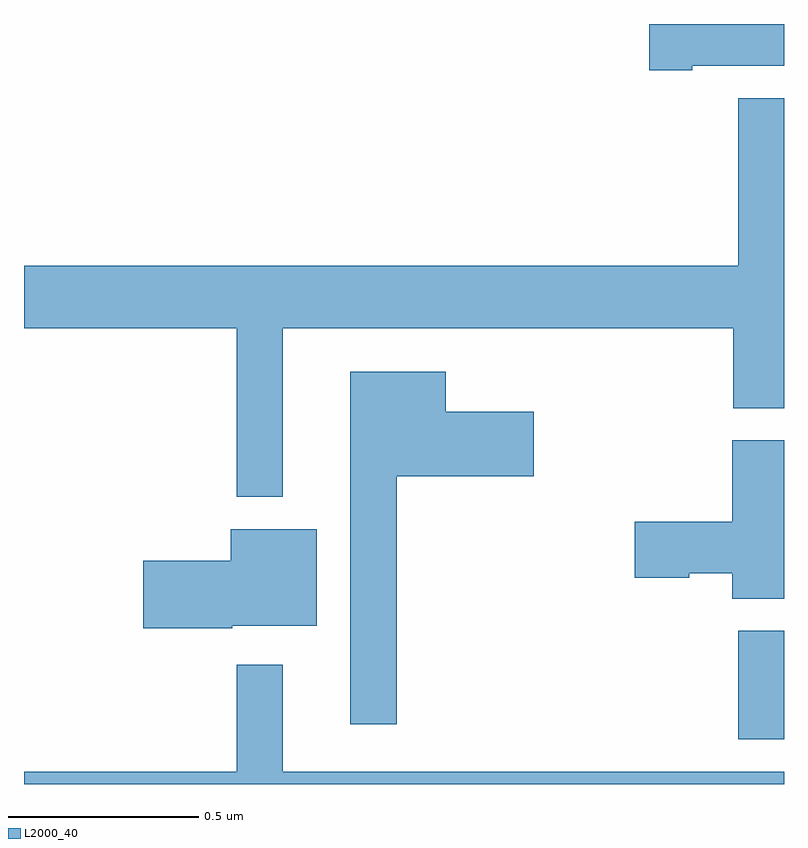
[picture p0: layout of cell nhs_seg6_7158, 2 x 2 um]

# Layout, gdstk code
import gdstk
lib = gdstk.Library(unit=1e-6, precision=1e-09)
def R(c, l, rs):  # rectangles x0, y0, x1, y1
    for r in rs: c.add(gdstk.rectangle(r[:2], r[2:], *l))
def P(c, l, *ps):  # polygons
    for p in ps: c.add(gdstk.Polygon(p, *l))
L2000_40 = (2000, 40)

nhs_seg6_7158 = lib.new_cell('nhs_seg6_7158')
R(nhs_seg6_7158, L2000_40, [(206.879,915.618,207,915.903)])
P(nhs_seg6_7158, L2000_40, [(206.758,917.39),(207,917.39),(207,917.5),(206.646,917.5),(206.646,917.378),(206.758,917.378)],
  [(205.681,916.7),(206.867,916.7),(206.867,916.489),(207,916.489),(207,917.305),(206.879,917.305),(206.879,916.864),(205,916.864),(205,916.7),(205.56,916.7),(205.56,916.256),(205.681,916.256)],
  [(205.981,916.31),(206.341,916.31),(206.341,916.48),(206.11,916.48),(206.11,916.585),(205.859,916.585),(205.859,915.657),(205.981,915.657)],
  [(207,916.404),(206.864,916.404),(206.864,916.19),(206.607,916.19),(206.607,916.043),(206.75,916.043),(206.75,916.055),(206.864,916.055),(206.864,915.988),(207,915.988)],
  [(205.548,915.917),(205.771,915.917),(205.771,916.171),(205.544,916.171),(205.544,916.088),(205.314,916.088),(205.314,915.91),(205.548,915.91)],
  [(207,915.532),(205.681,915.532),(205.681,915.814),(205.56,915.814),(205.56,915.532),(205,915.532),(205,915.5),(207,915.5)])

lib.write_gds('nhs_seg6_7158.gds')
